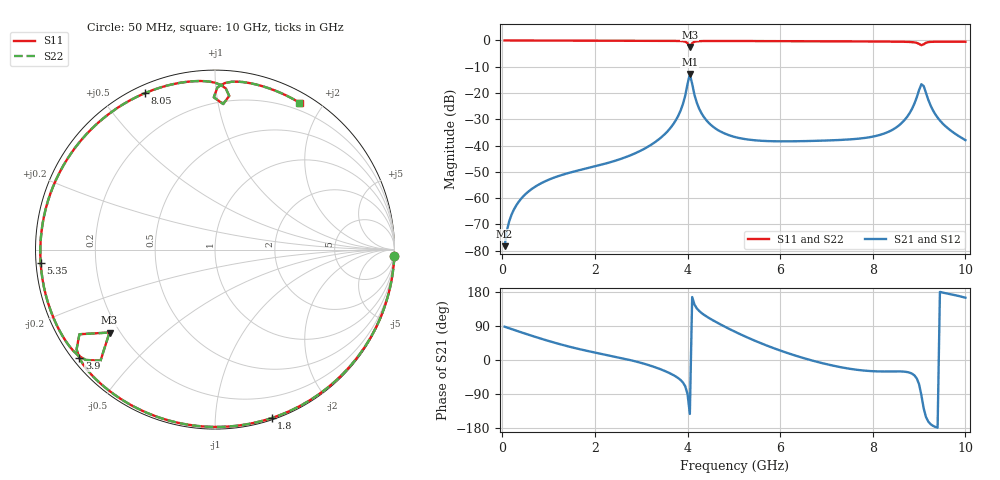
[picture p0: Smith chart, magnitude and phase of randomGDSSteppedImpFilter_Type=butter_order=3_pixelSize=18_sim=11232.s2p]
! freq	dB(S11)	phase(S11)	dB(S12)	phase(S12)
!  dB(S21)	phase(S21)	dB(S22)	phase(S22)
!S-par simulation data
#  GHz  S  DB  R 50
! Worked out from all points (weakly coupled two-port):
!   200 points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, 50 MHz to 10 GHz, reference 50 ohm
!   highest |S21| = -12.81 dB at 4.05 GHz (marker M1); lowest = -78.3 dB at 50 MHz (marker M2)
!   lowest |S11| = -2.5 dB at 4.05 GHz (marker M3), VSWR 6.92, Z = 8.07 - j16.9 ohm
!   |S11| at or under -10 dB: nowhere
!   |S22| runs from -2.5 to 0.0 dB; largest |S21 - S12| = 0
!   S11 on the Smith chart (normalised r, x): 50 MHz: 0, -54; 1.8 GHz: 0.01, -1.39; 3.9 GHz: 0.02, -0.35; 5.35 GHz: 0.01, -0.04; 8.05 GHz: 0.03, +0.65; 10 GHz: 0.11, +1.72
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0.05  -0.00 -2.1  -78.31 87.9  -78.31 87.9  -0.00 -2.1
0.2  -0.01 -8.4  -66.30 81.6  -66.30 81.6  -0.01 -8.4
0.5  -0.03 -20.8  -58.51 69.3  -58.51 69.3  -0.03 -20.8
1.75  -0.08 -69.6  -49.00 26.3  -49.00 26.3  -0.08 -69.6
1.8  -0.09 -71.4  -48.78 24.9  -48.78 24.9  -0.09 -71.4
3.4  -0.15 -124.2  -37.37 -23.6  -37.37 -23.6  -0.15 -124.2
3.7  -0.17 -133.7  -31.67 -40.2  -31.67 -40.2  -0.17 -133.7
3.9  -0.29 -141.4  -24.25 -59.3  -24.25 -59.3  -0.29 -141.3
4  -1.01 -148.0  -16.55 -89.7  -16.55 -89.7  -1.01 -148.0
4.05  -2.53 -141.8  -12.81 -142.3  -12.81 -142.3  -2.52 -141.8
4.1  -1.03 -135.9  -16.50 166.2  -16.50 166.2  -1.03 -135.9
4.2  -0.32 -142.3  -23.72 136.2  -23.72 136.2  -0.32 -142.3
4.35  -0.22 -148.1  -29.07 119.7  -29.07 119.7  -0.22 -148.1
5.05  -0.21 -167.8  -36.88 73.1  -36.88 73.1  -0.21 -167.8
5.35  -0.23 -175.7  -37.82 56.3  -37.82 56.3  -0.23 -175.7
6.7  -0.30 149.8  -38.24 -1.7  -38.24 -1.7  -0.30 149.8
8.05  -0.40 114.0  -36.43 -29.9  -36.43 -29.9  -0.40 114.0
8.35  -0.43 105.6  -34.68 -30.2  -34.68 -30.2  -0.43 105.6
8.75  -0.54 93.5  -28.87 -32.0  -28.87 -32.0  -0.54 93.5
9.05  -1.81 86.8  -16.67 -92.9  -16.67 -92.9  -1.81 86.8
9.4  -0.47 78.8  -29.37 -178.7  -29.37 -178.7  -0.47 78.8
10  -0.50 60.1  -37.95 164.4  -37.95 164.4  -0.50 60.1
